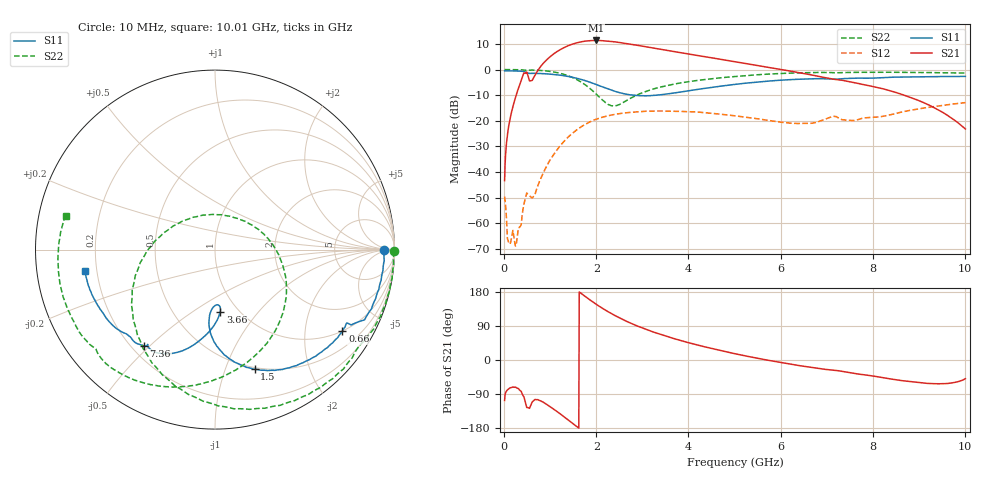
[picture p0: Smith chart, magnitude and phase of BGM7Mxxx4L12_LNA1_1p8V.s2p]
! (c) 2014 Infineon Technologies AG
! BGM7Mxxx4L12 - Silicon Germanium Quad-Band LTE LNA bank
! 20 May 2014
! Special Application Board
! C1 = L1 = 0 Ohm
! C2 = 100 nF
! Vcc = 1.8V
! RF input and output lines de-embedded
! Port 1 reference plane: LNA input AI (pin 8)
! Port 2 reference plane: LNA output AO (pin 7)
! Network Data:
! Measured BGM7Mxxx4L12 device level s-parameters
# GHz S MA R 50
!Freq  MagS11  AngS11  MagS21  AngS21  MagS12  AngS12  MagS22  AngS22
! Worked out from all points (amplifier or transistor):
!   1001 points, 10 MHz to 10.01 GHz, reference 50 ohm
!   highest |S21| = 11.3 dB at 1.99 GHz (marker M1)
!   |S21| within 3 dB of that: 1.274 GHz to 3.254 GHz (1.98 GHz wide, 87.5 % of centre)
!   unconditionally stable (mu >= 1): start of sweep to 127.6 MHz; 194.1 MHz to 6.271 GHz; 9.311 GHz to end of sweep (the widest 3 of 4)
!   at 1.67 GHz: K = 1.25, MAG = 13.6 dB, |S12| = -22.3 dB
!   at 5.01 GHz: K = 1.21, MAG = 7.8 dB, |S12| = -18.1 dB
!   at 10.01 GHz: K = 3.41, MAG = -13.4 dB, |S12| = -12.9 dB
!   lowest NFmin = 0.65 dB at 2.05 GHz
!   S11 on the Smith chart (normalised r, x): 10 MHz: 34, -2; 660 MHz: 1.00, -3.13; 1.5 GHz: 0.48, -1.27; 3.66 GHz: 0.83, -0.65; 7.36 GHz: 0.25, -0.48; 10.01 GHz: 0.15, -0.08
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0.01  0.9435 -0.2  0.006851 -106.9  0.003334 89.5  0.9975 -0.5
0.11  0.9417 -6.0  0.08983 -75.1  0.0004048 57.1  0.9969 -7.7
0.25  0.9393 -13.7  0.2897 -71.7  0.0003599 68.7  0.9977 -17.8
0.47  0.8826 -27.6  0.8552 -116.6  0.003341 161.3  0.9679 -33.2
0.57  0.8402 -29.6  0.6028 -121.8  0.003334 148.7  0.9724 -39.8
0.66  0.8426 -32.6  0.7488 -105.2  0.003565 173.2  0.9725 -46.8
0.87  0.8272 -41.9  1.386 -113.1  0.01054 -170.6  0.9451 -63.9
1.12  0.7929 -53.5  2.153 -133.6  0.02513 -179.6  0.8793 -85.9
1.3  0.7572 -62.2  2.676 -150.0  0.03978 170.1  0.8025 -103.4
1.5  0.7019 -71.7  3.167 -168.6  0.05895 157.1  0.6881 -124.7
1.68  0.6389 -79.8  3.481 174.9  0.07756 144.8  0.5635 -145.3
1.99  0.5144 -90.6  3.69 147.7  0.1071 124.2  0.3385 171.9
2.24  0.4225 -94.5  3.586 128.5  0.1247 109.4  0.214 122.0
2.51  0.3532 -94.3  3.358 110.7  0.1382 95.9  0.2098 57.3
2.92  0.3103 -89.5  2.938 88.3  0.1507 79.7  0.3295 2.7
3.35  0.3189 -85.0  2.523 69.2  0.1552 65.6  0.4455 -26.8
3.66  0.3464 -85.1  2.262 57.4  0.1542 58.0  0.5152 -42.5
5.01  0.5133 -99.6  1.426 16.6  0.1251 37.0  0.7323 -91.8
6.68  0.6603 -119.7  0.7813 -20.0  0.08985 58.5  0.8741 -130.3
7.36  0.6661 -126.5  0.6117 -30.6  0.1045 56.8  0.8733 -142.4
8.35  0.705 -141.8  0.393 -49.3  0.1291 76.7  0.8866 -162.7
10.01  0.7346 -170.8  0.06928 -49.2  0.2266 71.1  0.8543 167.2
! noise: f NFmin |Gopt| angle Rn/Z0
1.8  0.6962  0.4212  60.88  0.1711
1.85  0.6783  0.4145  61.69  0.1558
1.9  0.6759  0.4261  63.79  0.1539
1.95  0.6761  0.414  65.15  0.1569
2  0.6697  0.3989  65.89  0.1521
2.05  0.6517  0.4538  66.79  0.142
2.1  0.6828  0.4238  69.21  0.1411
2.2  0.7117  0.4116  71.14  0.1473
2.35  0.7488  0.4149  76.25  0.1374
2.65  0.8306  0.3604  84.84  0.139
